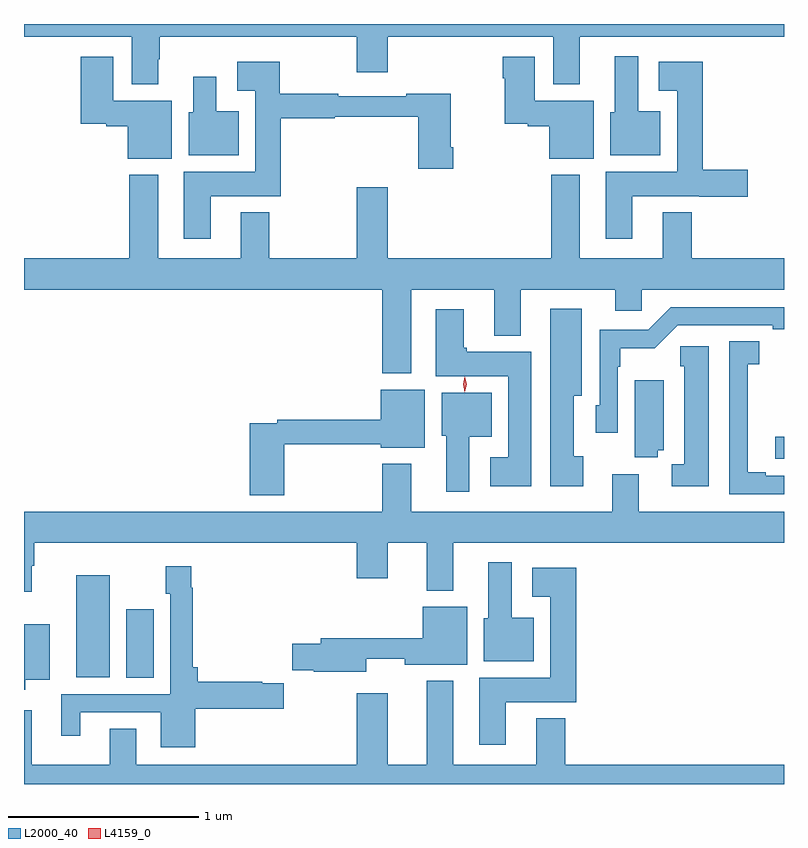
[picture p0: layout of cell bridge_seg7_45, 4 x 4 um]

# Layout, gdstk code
import gdstk
lib = gdstk.Library(unit=1e-6, precision=1e-09)
def R(c, l, rs):  # rectangles x0, y0, x1, y1
    for r in rs: c.add(gdstk.rectangle(r[:2], r[2:], *l))
def P(c, l, *ps):  # polygons
    for p in ps: c.add(gdstk.Polygon(p, *l))
L2000_40 = (2000, 40)
L4159_0 = (4159, 0)

bridge_seg7_45 = lib.new_cell('bridge_seg7_45')
R(bridge_seg7_45, L2000_40, [(1002.956,1031.872,1003.099,1032.235), (1002.692,1031.876,1002.868,1032.412), (1006.371,1033.027,1006.417,1033.142)])
P(bridge_seg7_45, L2000_40, [(1003.123,1035.128),(1003.131,1035.128),(1003.131,1035.248),(1004.168,1035.248),(1004.168,1035.06),(1004.332,1035.06),(1004.332,1035.248),(1005.203,1035.248),(1005.203,1034.996),(1005.343,1034.996),(1005.343,1035.248),(1006.417,1035.248),(1006.417,1035.314),(1002.417,1035.314),(1002.417,1035.248),(1002.983,1035.248),(1002.983,1034.996),(1003.123,1034.996)],
  [(1005.766,1034.854),(1005.649,1034.854),(1005.649,1035.145),(1005.527,1035.145),(1005.527,1034.85),(1005.503,1034.85),(1005.503,1034.624),(1005.766,1034.624)],
  [(1003.195,1034.911),(1002.886,1034.911),(1002.886,1035.142),(1002.716,1035.142),(1002.716,1034.789),(1002.849,1034.789),(1002.849,1034.777),(1002.962,1034.777),(1002.962,1034.606),(1003.195,1034.606)],
  [(1005.415,1034.911),(1005.106,1034.911),(1005.106,1035.142),(1004.936,1035.142),(1004.936,1035.029),(1004.948,1035.029),(1004.948,1034.789),(1005.069,1034.789),(1005.069,1034.777),(1005.182,1034.777),(1005.182,1034.606),(1005.415,1034.606)],
  [(1003.399,1034.408),(1003.769,1034.408),(1003.769,1034.818),(1004.052,1034.818),(1004.052,1034.826),(1004.492,1034.826),(1004.492,1034.553),(1004.675,1034.553),(1004.675,1034.665),(1004.662,1034.665),(1004.662,1034.947),(1004.428,1034.947),(1004.428,1034.934),(1004.072,1034.934),(1004.072,1034.947),(1003.764,1034.947),(1003.764,1035.115),(1003.539,1035.115),(1003.539,1034.963),(1003.634,1034.963),(1003.634,1034.536),(1003.259,1034.536),(1003.259,1034.184),(1003.399,1034.184)],
  [(1005.619,1034.408),(1005.972,1034.408),(1005.972,1034.404),(1006.225,1034.404),(1006.225,1034.546),(1005.989,1034.546),(1005.989,1035.115),(1005.759,1035.115),(1005.759,1034.963),(1005.854,1034.963),(1005.854,1034.536),(1005.479,1034.536),(1005.479,1034.184),(1005.619,1034.184)],
  [(1003.546,1034.854),(1003.429,1034.854),(1003.429,1035.037),(1003.307,1035.037),(1003.307,1034.85),(1003.283,1034.85),(1003.283,1034.624),(1003.546,1034.624)],
  [(1004.455,1033.916),(1004.891,1033.916),(1004.891,1033.673),(1005.031,1033.673),(1005.031,1033.916),(1005.53,1033.916),(1005.53,1033.806),(1005.669,1033.806),(1005.669,1033.916),(1006.417,1033.916),(1006.417,1034.08),(1005.932,1034.08),(1005.932,1034.323),(1005.779,1034.323),(1005.779,1034.08),(1005.343,1034.08),(1005.343,1034.521),(1005.191,1034.521),(1005.191,1034.08),(1004.332,1034.08),(1004.332,1034.455),(1004.168,1034.455),(1004.168,1034.08),(1003.707,1034.08),(1003.707,1034.323),(1003.559,1034.323),(1003.559,1034.08),(1003.123,1034.08),(1003.123,1034.521),(1002.971,1034.521),(1002.971,1034.08),(1002.417,1034.08),(1002.417,1033.916),(1004.303,1033.916),(1004.303,1033.475),(1004.455,1033.475)],
  [(1005.543,1033.511),(1005.556,1033.511),(1005.556,1033.607),(1005.737,1033.607),(1005.858,1033.728),(1006.358,1033.728),(1006.358,1033.708),(1006.417,1033.708),(1006.417,1033.824),(1005.822,1033.824),(1005.702,1033.704),(1005.447,1033.704),(1005.447,1033.308),(1005.426,1033.308),(1005.426,1033.164),(1005.543,1033.164)],
  [(1005.361,1033.038),(1005.31,1033.038),(1005.31,1033.358),(1005.352,1033.358),(1005.352,1033.816),(1005.188,1033.816),(1005.188,1032.882),(1005.361,1032.882)],
  [(1005.088,1033.588),(1004.747,1033.588),(1004.747,1033.611),(1004.731,1033.611),(1004.731,1033.813),(1004.585,1033.813),(1004.585,1033.46),(1004.966,1033.46),(1004.966,1033.033),(1004.871,1033.033),(1004.871,1032.881),(1005.088,1032.881)],
  [(1006.417,1032.936),(1006.321,1032.936),(1006.321,1032.956),(1006.225,1032.956),(1006.225,1033.219),(1006.227,1033.219),(1006.227,1033.523),(1006.288,1033.523),(1006.288,1033.643),(1006.128,1033.643),(1006.128,1032.84),(1006.417,1032.84)],
  [(1006.021,1033.618),(1005.871,1033.618),(1005.871,1033.512),(1005.893,1033.512),(1005.893,1032.996),(1005.825,1032.996),(1005.825,1032.881),(1006.021,1032.881)],
  [(1005.752,1033.07),(1005.784,1033.07),(1005.784,1033.438),(1005.632,1033.438),(1005.632,1033.033),(1005.752,1033.033)],
  [(1003.787,1033.103),(1004.294,1033.103),(1004.294,1033.085),(1004.527,1033.085),(1004.527,1033.39),(1004.294,1033.39),(1004.294,1033.232),(1003.75,1033.232),(1003.75,1033.212),(1003.604,1033.212),(1003.604,1032.833),(1003.787,1032.833)],
  [(1004.761,1033.142),(1004.878,1033.142),(1004.878,1033.372),(1004.615,1033.372),(1004.615,1033.146),(1004.639,1033.146),(1004.639,1032.852),(1004.761,1032.852)],
  [(1002.457,1032.464),(1002.47,1032.464),(1002.47,1032.584),(1004.168,1032.584),(1004.168,1032.396),(1004.332,1032.396),(1004.332,1032.584),(1004.537,1032.584),(1004.537,1032.332),(1004.677,1032.332),(1004.677,1032.584),(1006.417,1032.584),(1006.417,1032.748),(1005.652,1032.748),(1005.652,1032.943),(1005.512,1032.943),(1005.512,1032.748),(1004.455,1032.748),(1004.455,1033),(1004.303,1033),(1004.303,1032.748),(1002.417,1032.748),(1002.417,1032.327),(1002.457,1032.327)],
  [(1005.1,1032.19),(1004.983,1032.19),(1004.983,1032.481),(1004.861,1032.481),(1004.861,1032.186),(1004.837,1032.186),(1004.837,1031.96),(1005.1,1031.96)],
  [(1003.318,1031.71),(1003.783,1031.71),(1003.783,1031.843),(1003.67,1031.843),(1003.67,1031.852),(1003.331,1031.852),(1003.331,1031.929),(1003.304,1031.929),(1003.304,1032.347),(1003.297,1032.347),(1003.297,1032.46),(1003.162,1032.46),(1003.162,1032.315),(1003.188,1032.315),(1003.188,1031.787),(1002.614,1031.787),(1002.614,1031.568),(1002.712,1031.568),(1002.712,1031.691),(1003.136,1031.691),(1003.136,1031.507),(1003.318,1031.507)],
  [(1004.953,1031.744),(1005.323,1031.744),(1005.323,1032.451),(1005.093,1032.451),(1005.093,1032.299),(1005.188,1032.299),(1005.188,1031.872),(1004.813,1031.872),(1004.813,1031.52),(1004.953,1031.52)],
  [(1004.218,1031.972),(1004.42,1031.972),(1004.42,1031.942),(1004.749,1031.942),(1004.749,1032.247),(1004.516,1032.247),(1004.516,1032.082),(1003.979,1032.082),(1003.979,1032.053),(1003.83,1032.053),(1003.83,1031.914),(1003.942,1031.914),(1003.942,1031.906),(1004.218,1031.906)],
  [(1002.424,1031.864),(1002.553,1031.864),(1002.553,1032.154),(1002.417,1032.154),(1002.417,1031.81),(1002.424,1031.81)],
  [(1003.009,1031.606),(1002.869,1031.606),(1002.869,1031.416),(1002.457,1031.416),(1002.457,1031.701),(1002.417,1031.701),(1002.417,1031.314),(1006.417,1031.314),(1006.417,1031.416),(1005.266,1031.416),(1005.266,1031.659),(1005.113,1031.659),(1005.113,1031.416),(1004.677,1031.416),(1004.677,1031.857),(1004.537,1031.857),(1004.537,1031.416),(1004.332,1031.416),(1004.332,1031.791),(1004.168,1031.791),(1004.168,1031.416),(1003.009,1031.416)])
P(bridge_seg7_45, L4159_0, [(1004.738,1033.377),(1004.738,1033.377),(1004.728,1033.417),(1004.737,1033.457),(1004.738,1033.457),(1004.738,1033.457),(1004.748,1033.417),(1004.738,1033.377)])

lib.write_gds('bridge_seg7_45.gds')
